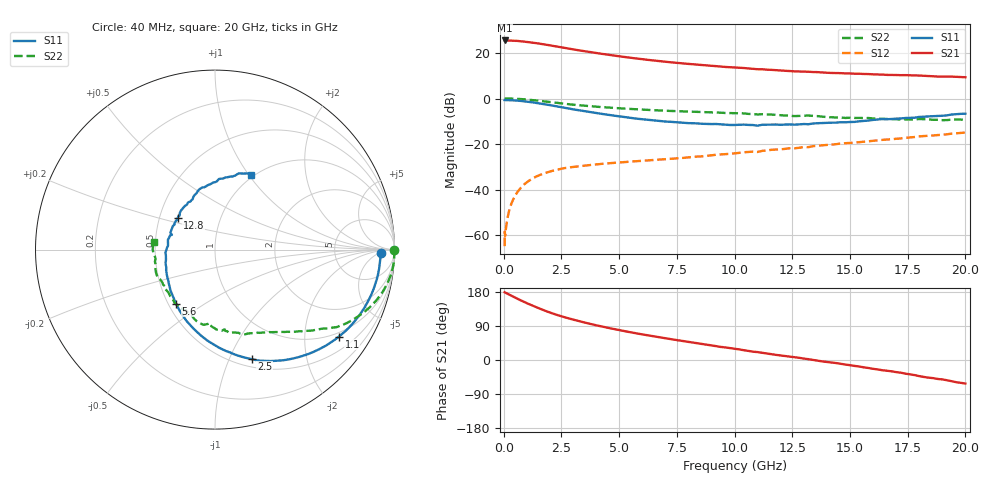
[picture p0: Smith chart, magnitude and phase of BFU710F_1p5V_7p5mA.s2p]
! Filename:  P:\Prog\Test\Noise\ATS_data\Testdata_Net\BFU710\BFU710_2W_A1_1.5V7.5mA_D.s2p
! Date/Time: Fri 29/Apr/2011 13:25:49
! BFU710_2W_A1_1.5V7.5mA
! bias mode 1: Vout= 1.5000 V, Iout= 7.4850 mA, Vin= 0.8344 V, Iin= 0.0273 mA
! Date/time Wed Mar 16 12:39:11 2011
! Device data file deembeded for feedlines and parallel
! Original file: \BFU710\BFU710_2W_A1_1.5V7.5mA_R.s2p
! Feed-files: PR003V01_101208_Feed1.s2p, PR003V01_101208_Feed2.s2p
! Parallel-file: PR003V01_101208_Par.s2p
# MHz S MA R 50
!  Freq-MHz  S11-mag  S11-arg  S21-mag  S21-arg  S12-mag  S12-arg  S22-mag  S22-arg
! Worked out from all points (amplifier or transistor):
!   167 points, 40 MHz to 20 GHz, reference 50 ohm
!   highest |S21| = 25.4 dB at 50 MHz (marker M1)
!   |S21| within 3 dB of that: start of sweep to 2.477 GHz
!   unconditionally stable (mu >= 1): 5.771 GHz to 16.83 GHz
!   at 550 MHz: K = 0.06, MSG = 33.5 dB, |S12| = -41.7 dB
!   at 4.2 GHz: K = 0.77, MSG = 24.2 dB, |S12| = -28.7 dB
!   at 20 GHz: K = 0.82, MSG = 12.1 dB, |S12| = -14.9 dB
!   S11 on the Smith chart (normalised r, x): 40 MHz: 23, -6; 1.1 GHz: 0.87, -2.93; 2.5 GHz: 0.58, -1.21; 5.6 GHz: 0.55, -0.38; 12.8 GHz: 0.62, +0.23; 20 GHz: 0.97, +1.03
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40  0.9226 -1.3  18.61 178.8  0.0005829 87.9  0.9972 -0.1
50  0.9205 -2.1  18.68 178.1  0.001222 94.6  0.9974 -0.4
60  0.9201 -1.8  18.47 177.9  0.0009733 81.8  0.999 -0.6
240  0.9188 -7.9  18.64 172.6  0.003535 88.0  0.9983 -3.9
600  0.8973 -19.6  18.26 161.5  0.008997 80.7  0.9822 -10.1
850  0.8731 -27.6  17.72 154.2  0.01259 75.7  0.9633 -14.1
1100  0.8436 -35.1  17.07 147.4  0.01586 71.1  0.939 -17.9
1400  0.8025 -43.8  16.34 139.5  0.0194 66.0  0.907 -22.0
1750  0.7525 -53.3  15.35 131.0  0.02289 61.0  0.8681 -26.2
2100  0.7016 -62.1  14.31 123.2  0.02591 56.8  0.8294 -30.2
2500  0.6431 -71.5  13.16 115.3  0.02909 52.5  0.7811 -33.9
2900  0.591 -79.9  12.13 108.4  0.0312 48.6  0.7404 -36.5
3400  0.5368 -89.3  11.05 100.4  0.03338 45.7  0.7037 -39.9
4400  0.4482 -106.9  9.278 86.3  0.03764 41.5  0.6412 -45.5
5600  0.371 -125.9  7.684 72.0  0.04182 38.3  0.5847 -51.7
6800  0.3202 -143.3  6.547 59.5  0.04603 36.8  0.5468 -57.6
8200  0.2876 -162.4  5.623 46.0  0.0524 36.1  0.5143 -65.3
10200  0.265 171.1  4.715 28.0  0.06443 33.3  0.4728 -78.0
12800  0.2721 140.0  3.91 5.8  0.08324 26.6  0.4163 -95.6
13400  0.283 133.9  3.796 0.1  0.09052 24.9  0.4154 -103.0
16800  0.3556 98.2  3.283 -29.9  0.1278 9.4  0.3525 -137.5
20000  0.464 64.3  2.921 -62.2  0.1795 -12.2  0.3422 173.3
